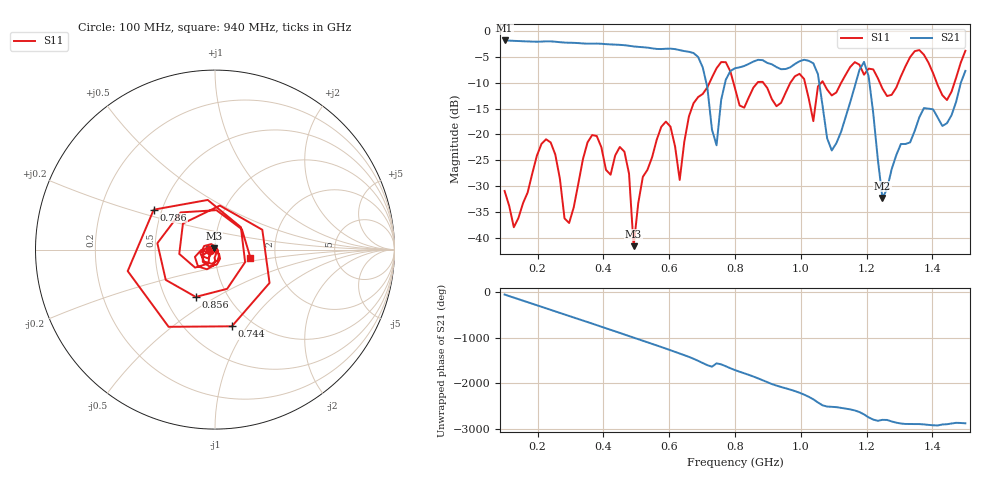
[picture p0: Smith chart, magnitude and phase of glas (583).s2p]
! NanoVNA-App
! Date: 2025-09-25 16:00:01
! Start: 100MHz Stop: 1,5GHz Points: 101
! S-Parameter data: F S11 S21 S12 S22
# Hz S RI R 50
!  Frequency  S11_Real  S11_Imag  S21_Real  S21_Imag  S12_Real  S12_Imag  S22_Real  S22_Imag
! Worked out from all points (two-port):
!   101 points, 100 MHz to 1.5 GHz, reference 50 ohm
!   highest |S21| = -1.80 dB at 100 MHz (marker M1); lowest = -32.3 dB at 1.248 GHz (marker M2)
!   |S21| within 3 dB of the highest: start of sweep to 684.3 MHz
!   lowest |S11| = -41.6 dB at 492 MHz (marker M3), VSWR 1.02, Z = 49.5 + j0.649 ohm
!   |S11| at or under -10 dB: start of sweep to 722.4 MHz; 795.4 MHz to 867.9 MHz (72.48 MHz wide, 8.71 % of centre); 886.2 MHz to 968 MHz (81.76 MHz wide, 8.82 % of centre) (the widest 3 of 7)
!   S12 and S22 are empty: the file has one direction only
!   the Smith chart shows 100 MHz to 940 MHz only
!   S11 on the Smith chart (normalised r, x): 100 MHz: 0.95, -0.01; 744 MHz: 0.81, -0.85; 786 MHz: 0.45, +0.24; 856 MHz: 0.71, -0.41; 940 MHz: 1.48, -0.14
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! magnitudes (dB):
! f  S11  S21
! 100 MHz  -30.9  -1.8
! 128 MHz  -38.0  -1.9
! 226 MHz  -20.9  -2.0
! 296 MHz  -37.1  -2.2
! 338 MHz  -24.8  -2.4
! 464 MHz  -23.3  -2.7
! 492 MHz  -41.6  -3.0
! 576 MHz  -18.5  -3.5
! 632 MHz  -28.8  -3.7
! 702 MHz  -12.2  -7.0
! 744 MHz  -7.2  -22.1
! 786 MHz  -7.8  -7.7
! 800 MHz  -11.1  -7.2
! 856 MHz  -10.9  -5.9
! 940 MHz  -13.9  -7.4
! 996 MHz  -8.3  -5.8
! 1.038 GHz  -17.4  -6.2
! 1.094 GHz  -12.4  -23.1
! 1.192 GHz  -8.4  -5.9
! 1.248 GHz  -11.1  -32.3
! 1.276 GHz  -12.3  -26.7
! 1.5 GHz  -3.8  -7.7
